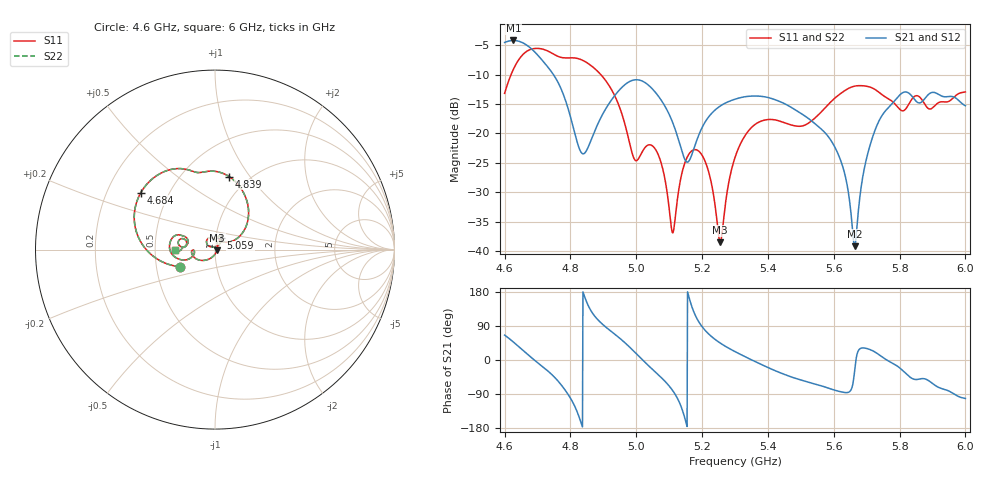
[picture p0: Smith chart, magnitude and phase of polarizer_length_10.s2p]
! TOUCHSTONE file generated by CST MICROWAVE STUDIO
! Date and time: Sun Dec  1 17:16:59 2024
! Project name: test_tuning.cst
! Parameters = {airCoaxOuterDiameter=3; chamferAngle=45; chamferWidth=24; connectorLength=10; drillingHoleDiameter=4.1; feedLength=60; flareDiameter=130; flareLength=70; gratingDistance=0; gratingGap=1.90274; outletLength=30; polarizerLength=82; probe1Diameter=1.3; probe1Distance=14; probe1Length=12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
! Header version: 2024
! Port assignment regex: !\s*Touchstone port\s*([0-9]+)\s*=\s*(CST MWS port|CST DES external port|CST DES block port)\s*(.+)\s* \(\"(.*)\"\)(\s*mode\s*([0-9]+))?.*
! Touchstone port assignment:
! Touchstone port 1 = CST MWS port 1 ("Input1")
! Touchstone port 2 = CST MWS port 2 ("Input2")
# GHz S MA R 50
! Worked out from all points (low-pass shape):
!   1001 points, 4.6 GHz to 6 GHz, reference 50 ohm
!   highest |S21| = -4.22 dB at 4.627 GHz (marker M1); lowest = -39.1 dB at 5.664 GHz (marker M2)
!   |S21| within 3 dB of the highest: start of sweep to 4.709 GHz
!   lowest |S11| = -38.4 dB at 5.255 GHz (marker M3), VSWR 1.02, Z = 51.1 - j0.389 ohm
!   |S11| at or under -10 dB: start of sweep to 4.619706 GHz; 4.892 GHz to end of sweep
!   |S22| runs from -38.4 to -5.6 dB; largest |S21 - S12| = 2.2e-06
!   S11 on the Smith chart (normalised r, x): 4.6 GHz: 0.66, -0.13; 4.684 GHz: 0.35, +0.30; 4.839 GHz: 0.82, +0.80; 5.059 GHz: 1.06, +0.14; 6 GHz: 0.63, -0.00
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4.6  0.2189 -154.3  0.5914 65.8  0.5914 65.8  0.2189 -154.3
4.6266  0.3497 -174.5  0.6149 47.5  0.6149 47.5  0.3497 -174.5
4.684  0.5211 142.4  0.5147 4.4  0.5147 4.4  0.5211 142.4
4.7582  0.4559 106.3  0.2849 -51.6  0.2849 -51.6  0.4559 106.3
4.8338  0.4214 81.6  0.06843 -169.4  0.06843 -169.4  0.4214 81.6
4.8394  0.4143 79.0  0.06721 176.1  0.06721 176.1  0.4143 79.0
4.929  0.2241 38.1  0.1999 71.9  0.1999 71.9  0.2241 38.1
4.9962  0.05945 51.5  0.2852 20.1  0.2852 20.1  0.05945 51.5
5.0592  0.07275 61.7  0.2213 -32.7  0.2213 -32.7  0.07275 61.7
5.0676  0.06525 57.5  0.2065 -39.5  0.2065 -39.5  0.06525 57.5
5.111  0.01436 103.0  0.1231 -81.1  0.1231 -81.1  0.01436 103.0
5.1544  0.0627 139.0  0.05718 -175.4  0.05718 -175.4  0.0627 139.0
5.209  0.05822 91.6  0.1248 78.5  0.1248 78.5  0.05822 91.6
5.2552  0.01198 -18.5  0.171 44.7  0.171 44.7  0.01198 -18.5
5.3  0.06257 -122.4  0.1953 22.2  0.1953 22.2  0.06257 -122.4
5.3728  0.125 -160.8  0.2073 -8.9  0.2073 -8.9  0.125 -160.8
5.5338  0.1287 -163.8  0.127 -61.4  0.127 -61.4  0.1287 -163.8
5.6206  0.2178 -167.3  0.0595 -83.7  0.0595 -83.7  0.2178 -167.3
5.664  0.2522 179.6  0.01108 -23.9  0.01108 -23.9  0.2522 179.6
5.7046  0.2499 166.8  0.06964 29.3  0.06964 29.3  0.2499 166.8
5.7676  0.1957 156.9  0.1674 -3.3  0.1674 -3.3  0.1957 156.9
6  0.225 -179.1  0.1719 -101.5  0.1719 -101.5  0.225 -179.1
